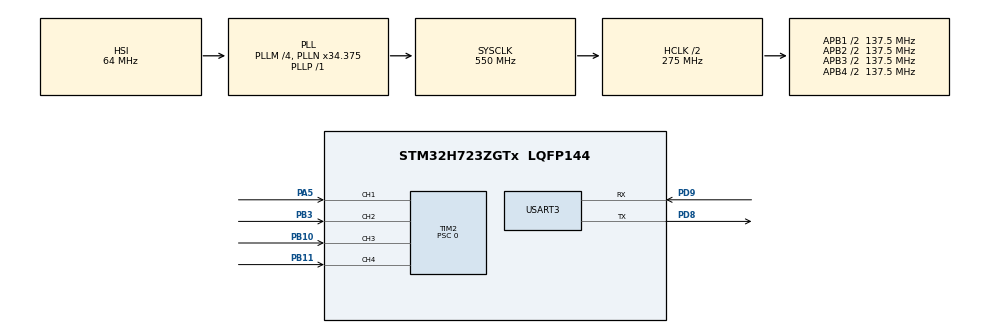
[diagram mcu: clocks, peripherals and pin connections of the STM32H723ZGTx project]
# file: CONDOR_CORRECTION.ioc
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CORTEX_M7.default_mode_Activation=1
Dma.Request0=TIM2_CH1
Dma.Request1=TIM2_CH2
Dma.Request2=TIM2_CH3
Dma.Request3=TIM2_CH4
Dma.TIM2_CH1.0.Direction=DMA_PERIPH_TO_MEMORY
Dma.TIM2_CH1.0.EventEnable=DISABLE
Dma.TIM2_CH1.0.FIFOMode=DMA_FIFOMODE_DISABLE
Dma.TIM2_CH1.0.Instance=DMA1_Stream0
Dma.TIM2_CH1.0.MemDataAlignment=DMA_MDATAALIGN_WORD
Dma.TIM2_CH1.0.MemInc=DMA_MINC_ENABLE
Dma.TIM2_CH1.0.Mode=DMA_NORMAL
Dma.TIM2_CH1.0.PeriphDataAlignment=DMA_PDATAALIGN_WORD
Dma.TIM2_CH1.0.PeriphInc=DMA_PINC_DISABLE
Dma.TIM2_CH1.0.Polarity=HAL_DMAMUX_REQ_GEN_RISING
Dma.TIM2_CH1.0.Priority=DMA_PRIORITY_LOW
Dma.TIM2_CH1.0.RequestNumber=1
Dma.TIM2_CH1.0.SignalID=NONE
Dma.TIM2_CH1.0.SyncEnable=DISABLE
Dma.TIM2_CH1.0.SyncPolarity=HAL_DMAMUX_SYNC_NO_EVENT
Dma.TIM2_CH1.0.SyncRequestNumber=1
Dma.TIM2_CH1.0.SyncSignalID=NONE
Dma.TIM2_CH2.1.Direction=DMA_PERIPH_TO_MEMORY
Dma.TIM2_CH2.1.EventEnable=DISABLE
Dma.TIM2_CH2.1.FIFOMode=DMA_FIFOMODE_DISABLE
Dma.TIM2_CH2.1.Instance=DMA1_Stream1
Dma.TIM2_CH2.1.MemDataAlignment=DMA_MDATAALIGN_WORD
Dma.TIM2_CH2.1.MemInc=DMA_MINC_ENABLE
Dma.TIM2_CH2.1.Mode=DMA_NORMAL
Dma.TIM2_CH2.1.PeriphDataAlignment=DMA_PDATAALIGN_WORD
Dma.TIM2_CH2.1.PeriphInc=DMA_PINC_DISABLE
Dma.TIM2_CH2.1.Polarity=HAL_DMAMUX_REQ_GEN_RISING
Dma.TIM2_CH2.1.Priority=DMA_PRIORITY_LOW
Dma.TIM2_CH2.1.RequestNumber=1
Dma.TIM2_CH2.1.SignalID=NONE
Dma.TIM2_CH2.1.SyncEnable=DISABLE
Dma.TIM2_CH2.1.SyncPolarity=HAL_DMAMUX_SYNC_NO_EVENT
Dma.TIM2_CH2.1.SyncRequestNumber=1
Dma.TIM2_CH2.1.SyncSignalID=NONE
Dma.TIM2_CH3.2.Direction=DMA_PERIPH_TO_MEMORY
Dma.TIM2_CH3.2.EventEnable=DISABLE
Dma.TIM2_CH3.2.FIFOMode=DMA_FIFOMODE_DISABLE
Dma.TIM2_CH3.2.Instance=DMA1_Stream2
Dma.TIM2_CH3.2.MemDataAlignment=DMA_MDATAALIGN_WORD
Dma.TIM2_CH3.2.MemInc=DMA_MINC_ENABLE
Dma.TIM2_CH3.2.Mode=DMA_NORMAL
Dma.TIM2_CH3.2.PeriphDataAlignment=DMA_PDATAALIGN_WORD
Dma.TIM2_CH3.2.PeriphInc=DMA_PINC_DISABLE
Dma.TIM2_CH3.2.Polarity=HAL_DMAMUX_REQ_GEN_RISING
Dma.TIM2_CH3.2.Priority=DMA_PRIORITY_LOW
Dma.TIM2_CH3.2.RequestNumber=1
Dma.TIM2_CH3.2.SignalID=NONE
Dma.TIM2_CH3.2.SyncEnable=DISABLE
Dma.TIM2_CH3.2.SyncPolarity=HAL_DMAMUX_SYNC_NO_EVENT
Dma.TIM2_CH3.2.SyncRequestNumber=1
Dma.TIM2_CH3.2.SyncSignalID=NONE
Dma.TIM2_CH4.3.Direction=DMA_PERIPH_TO_MEMORY
Dma.TIM2_CH4.3.EventEnable=DISABLE
Dma.TIM2_CH4.3.FIFOMode=DMA_FIFOMODE_DISABLE
Dma.TIM2_CH4.3.Instance=DMA1_Stream3
Dma.TIM2_CH4.3.MemDataAlignment=DMA_MDATAALIGN_WORD
Dma.TIM2_CH4.3.MemInc=DMA_MINC_ENABLE
Dma.TIM2_CH4.3.Mode=DMA_NORMAL
Dma.TIM2_CH4.3.PeriphDataAlignment=DMA_PDATAALIGN_WORD
Dma.TIM2_CH4.3.PeriphInc=DMA_PINC_DISABLE
Dma.TIM2_CH4.3.Polarity=HAL_DMAMUX_REQ_GEN_RISING
Dma.TIM2_CH4.3.Priority=DMA_PRIORITY_LOW
Dma.TIM2_CH4.3.RequestNumber=1
Dma.TIM2_CH4.3.SignalID=NONE
Dma.TIM2_CH4.3.SyncEnable=DISABLE
Dma.TIM2_CH4.3.SyncPolarity=HAL_DMAMUX_SYNC_NO_EVENT
Dma.TIM2_CH4.3.SyncRequestNumber=1
Dma.TIM2_CH4.3.SyncSignalID=NONE
Mcu.Family=STM32H7
Mcu.Name=STM32H723ZGTx
Mcu.Package=LQFP144
NUCLEO-H723ZG.BUTTON=1
NUCLEO-H723ZG.LD1=true
NUCLEO-H723ZG.LD2=true
NUCLEO-H723ZG.LD3=true
NUCLEO-H723ZG.VCP=true
NVIC.DMA1_Stream0_IRQn=true\:0\:0\:false\:false\:true\:false\:true\:true
NVIC.DMA1_Stream1_IRQn=true\:0\:0\:false\:false\:true\:false\:true\:true
NVIC.DMA1_Stream2_IRQn=true\:0\:0\:false\:false\:true\:false\:true\:true
NVIC.DMA1_Stream3_IRQn=true\:0\:0\:false\:false\:true\:false\:true\:true
NVIC.PriorityGroup=NVIC_PRIORITYGROUP_4
NVIC.TIM2_IRQn=true\:0\:0\:false\:false\:true\:true\:true\:true
NVIC.USART3_IRQn=true\:0\:0\:false\:false\:true\:true\:true\:true
PA5.Signal=S_TIM2_CH1_ETR
PB10.Signal=S_TIM2_CH3
PB11.Signal=S_TIM2_CH4
PB3(JTDO/TRACESWO).Signal=S_TIM2_CH2
PD8.Mode=Asynchronous
PD8.Signal=USART3_TX
PD9.Mode=Asynchronous
PD9.Signal=USART3_RX
ProjectManager.HeapSize=0x200
ProjectManager.StackSize=0x400
ProjectManager.TargetToolchain=STM32CubeIDE
RCC.ADCFreq_Value=608000000
RCC.APB1Freq_Value=137500000
RCC.APB2Freq_Value=137500000
RCC.APB3Freq_Value=137500000
RCC.APB4Freq_Value=137500000
RCC.CortexFreq_Value=550000000
RCC.D1PPRE=RCC_APB3_DIV2
RCC.D2PPRE1=RCC_APB1_DIV2
RCC.D2PPRE2=RCC_APB2_DIV2
RCC.D3PPRE=RCC_APB4_DIV2
RCC.DIVM1=4
RCC.DIVM2=1
RCC.DIVN1=34
RCC.DIVN2=19
RCC.DIVP1=1
RCC.DIVQ1=4
RCC.HCLKFreq_Value=275000000
RCC.HPRE=RCC_HCLK_DIV2
RCC.HSE_VALUE=8000000
RCC.PLLFRACN=3072
RCC.SYSCLKFreq_VALUE=550000000
RCC.SYSCLKSource=RCC_SYSCLKSOURCE_PLLCLK
RCC.USBCLockSelection=RCC_USBCLKSOURCE_HSI48
RCC.USBFreq_Value=48000000
SH.S_TIM2_CH1_ETR.0=TIM2_CH1,Input_Capture1_from_TI1
SH.S_TIM2_CH2.0=TIM2_CH2,Input_Capture2_from_TI2
SH.S_TIM2_CH3.0=TIM2_CH3,Input_Capture3_from_TI3
SH.S_TIM2_CH4.0=TIM2_CH4,Input_Capture4_from_TI4
TIM2.Channel-Input_Capture1_from_TI1=TIM_CHANNEL_1
TIM2.Channel-Input_Capture2_from_TI2=TIM_CHANNEL_2
TIM2.Channel-Input_Capture3_from_TI3=TIM_CHANNEL_3
TIM2.Channel-Input_Capture4_from_TI4=TIM_CHANNEL_4
TIM2.ICPolarity_CH1=TIM_INPUTCHANNELPOLARITY_FALLING
TIM2.Prescaler=0
USART3.VirtualMode-Asynchronous=VM_ASYNC
VP_MEMORYMAP_VS_MEMORYMAP.Mode=CurAppReg
VP_TIM2_VS_ClockSourceINT.Mode=Internal
board=NUCLEO-H723ZG

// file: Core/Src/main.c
/* USER CODE BEGIN Header */
/**
  ******************************************************************************
  * @file           : main.c
  * @brief          : Main program body
  ******************************************************************************
  * @attention
  *
  * Copyright (c) 2025 STMicroelectronics.
  * All rights reserved.
  *
  * This software is licensed under terms that can be found in the LICENSE file
  * in the root directory of this software component.
  * If no LICENSE file comes with this software, it is provided AS-IS.
  *
  ******************************************************************************
  */
/* USER CODE END Header */
#include "main.h"

/* USER CODE BEGIN Includes */
#include <stdio.h>

/* USER CODE END Includes */

/* USER CODE BEGIN PTD */
typedef struct {
    uint8_t channel;
    uint32_t timestamp;
} Event;

/* USER CODE END PTD */

/* USER CODE BEGIN PD */
#define PUTCHAR_PROTOTYPE 		int __io_putchar(int ch)

#define IC_BUF_LEN 16
#define MAX_EVENTS 128

#define COINCIDENCE_WINDOW 2000
/* USER CODE END PD */

TIM_HandleTypeDef htim2;
DMA_HandleTypeDef hdma_tim2_ch1;
DMA_HandleTypeDef hdma_tim2_ch2;
DMA_HandleTypeDef hdma_tim2_ch3;
DMA_HandleTypeDef hdma_tim2_ch4;

UART_HandleTypeDef huart3;

/* USER CODE BEGIN PV */

/* Buffers DMA por canal */
uint32_t ic_ch1_buf[IC_BUF_LEN];
uint32_t ic_ch2_buf[IC_BUF_LEN];
uint32_t ic_ch3_buf[IC_BUF_LEN];
uint32_t ic_ch4_buf[IC_BUF_LEN];

// Flags para los canales
volatile uint8_t ic_ch1_ready = 0;
volatile uint8_t ic_ch2_ready = 0;
volatile uint8_t ic_ch3_ready = 0;
volatile uint8_t ic_ch4_ready = 0;

/* Eventos */
volatile Event event_buffer[MAX_EVENTS];
volatile uint32_t event_index = 0;

/* Extensión 64 bits */
volatile uint32_t timer_high = 0;

volatile Event last_event = {0, 0};

/* USER CODE END PV */

void SystemClock_Config(void);
static void MPU_Config(void);
static void MX_GPIO_Init(void);
static void MX_DMA_Init(void);
static void MX_TIM2_Init(void);
static void MX_USART3_UART_Init(void);
/* USER CODE BEGIN PFP */
//static inline void push_event(uint8_t ch, uint32_t ts_low);
void Print_IC_Buffer(uint8_t ch, uint32_t *buf, uint32_t len);
void IC_DMA_XferCpltCallback(DMA_HandleTypeDef *hdma);
/* USER CODE END PFP */

int main(void)
{

  /* MPU Configuration--------------------------------------------------------*/
  MPU_Config();

  /* MCU Configuration--------------------------------------------------------*/

  /* Reset of all peripherals, Initializes the Flash interface and the Systick. */
  HAL_Init();

  /* Configure the system clock */
  SystemClock_Config();

  /* Initialize all configured peripherals */
  MX_GPIO_Init();
  MX_DMA_Init();
  MX_TIM2_Init();
  MX_USART3_UART_Init();
  /* USER CODE BEGIN 2 */
  HAL_NVIC_SetPriority(TIM2_IRQn, 1, 0);
  HAL_NVIC_EnableIRQ(TIM2_IRQn);
  HAL_TIM_Base_Start(&htim2);

  //htim2.hdma[TIM_DMA_ID_CC1]->XferCpltCallback = IC_DMA_XferCpltCallback;
  //htim2.hdma[TIM_DMA_ID_CC2]->XferCpltCallback = IC_DMA_XferCpltCallback;
  //htim2.hdma[TIM_DMA_ID_CC3]->XferCpltCallback = IC_DMA_XferCpltCallback;
  //htim2.hdma[TIM_DMA_ID_CC4]->XferCpltCallback = IC_DMA_XferCpltCallback;

  HAL_TIM_IC_Start_DMA(&htim2, TIM_CHANNEL_1, ic_ch1_buf, IC_BUF_LEN);
  HAL_TIM_IC_Start_DMA(&htim2, TIM_CHANNEL_2, ic_ch2_buf, IC_BUF_LEN);
  HAL_TIM_IC_Start_DMA(&htim2, TIM_CHANNEL_3, ic_ch3_buf, IC_BUF_LEN);
  HAL_TIM_IC_Start_DMA(&htim2, TIM_CHANNEL_4, ic_ch4_buf, IC_BUF_LEN);

  /* USER CODE END 2 */

  /* Infinite loop */
  /* USER CODE BEGIN WHILE */
  printf("Hello - Test\n");
  while (1)
  {
    /* USER CODE END WHILE */

    /* USER CODE BEGIN 3 */
      if (ic_ch1_ready)
      {
          ic_ch1_ready = 0;
          Print_IC_Buffer(1, ic_ch1_buf, IC_BUF_LEN);
      }
      if (ic_ch2_ready)
      {
          ic_ch2_ready = 0;
          Print_IC_Buffer(2, ic_ch2_buf, IC_BUF_LEN);
      }
      if (ic_ch3_ready)
      {
          ic_ch3_ready = 0;
          Print_IC_Buffer(3, ic_ch3_buf, IC_BUF_LEN);
      }
      if (ic_ch4_ready)
      {
          ic_ch4_ready = 0;
          Print_IC_Buffer(4, ic_ch4_buf, IC_BUF_LEN);
      }
  }
  /* USER CODE END 3 */
}

void SystemClock_Config(void)
{
  RCC_OscInitTypeDef RCC_OscInitStruct = {0};
  RCC_ClkInitTypeDef RCC_ClkInitStruct = {0};

  /** Supply configuration update enable
  */
  HAL_PWREx_ConfigSupply(PWR_LDO_SUPPLY);

  /** Configure the main internal regulator output voltage
  */
  __HAL_PWR_VOLTAGESCALING_CONFIG(PWR_REGULATOR_VOLTAGE_SCALE0);

  while(!__HAL_PWR_GET_FLAG(PWR_FLAG_VOSRDY)) {}

  /** Initializes the RCC Oscillators according to the specified parameters
  * in the RCC_OscInitTypeDef structure.
  */
  RCC_OscInitStruct.OscillatorType = RCC_OSCILLATORTYPE_HSI;
  RCC_OscInitStruct.HSIState = RCC_HSI_DIV1;
  RCC_OscInitStruct.HSICalibrationValue = 64;
  RCC_OscInitStruct.PLL.PLLState = RCC_PLL_ON;
  RCC_OscInitStruct.PLL.PLLSource = RCC_PLLSOURCE_HSI;
  RCC_OscInitStruct.PLL.PLLM = 4;
  RCC_OscInitStruct.PLL.PLLN = 34;
  RCC_OscInitStruct.PLL.PLLP = 1;
  RCC_OscInitStruct.PLL.PLLQ = 4;
  RCC_OscInitStruct.PLL.PLLR = 2;
  RCC_OscInitStruct.PLL.PLLRGE = RCC_PLL1VCIRANGE_3;
  RCC_OscInitStruct.PLL.PLLVCOSEL = RCC_PLL1VCOWIDE;
  RCC_OscInitStruct.PLL.PLLFRACN = 3072;
  if (HAL_RCC_OscConfig(&RCC_OscInitStruct) != HAL_OK)
  {
    Error_Handler();
  }

  /** Initializes the CPU, AHB and APB buses clocks
  */
  RCC_ClkInitStruct.ClockType = RCC_CLOCKTYPE_HCLK|RCC_CLOCKTYPE_SYSCLK
                              |RCC_CLOCKTYPE_PCLK1|RCC_CLOCKTYPE_PCLK2
                              |RCC_CLOCKTYPE_D3PCLK1|RCC_CLOCKTYPE_D1PCLK1;
  RCC_ClkInitStruct.SYSCLKSource = RCC_SYSCLKSOURCE_PLLCLK;
  RCC_ClkInitStruct.SYSCLKDivider = RCC_SYSCLK_DIV1;
  RCC_ClkInitStruct.AHBCLKDivider = RCC_HCLK_DIV2;
  RCC_ClkInitStruct.APB3CLKDivider = RCC_APB3_DIV2;
  RCC_ClkInitStruct.APB1CLKDivider = RCC_APB1_DIV2;
  RCC_ClkInitStruct.APB2CLKDivider = RCC_APB2_DIV2;
  RCC_ClkInitStruct.APB4CLKDivider = RCC_APB4_DIV2;

  if (HAL_RCC_ClockConfig(&RCC_ClkInitStruct, FLASH_LATENCY_3) != HAL_OK)
  {
    Error_Handler();
  }
}

static void MX_TIM2_Init(void)
{

  TIM_ClockConfigTypeDef sClockSourceConfig = {0};
  TIM_MasterConfigTypeDef sMasterConfig = {0};
  TIM_IC_InitTypeDef sConfigIC = {0};

  htim2.Instance = TIM2;
  htim2.Init.Prescaler = 0;
  htim2.Init.CounterMode = TIM_COUNTERMODE_UP;
  htim2.Init.Period = 4294967295;
  htim2.Init.ClockDivision = TIM_CLOCKDIVISION_DIV1;
  htim2.Init.AutoReloadPreload = TIM_AUTORELOAD_PRELOAD_DISABLE;
  if (HAL_TIM_Base_Init(&htim2) != HAL_OK)
  {
    Error_Handler();
  }
  sClockSourceConfig.ClockSource = TIM_CLOCKSOURCE_INTERNAL;
  if (HAL_TIM_ConfigClockSource(&htim2, &sClockSourceConfig) != HAL_OK)
  {
    Error_Handler();
  }
  if (HAL_TIM_IC_Init(&htim2) != HAL_OK)
  {
    Error_Handler();
  }
  sMasterConfig.MasterOutputTrigger = TIM_TRGO_RESET;
  sMasterConfig.MasterSlaveMode = TIM_MASTERSLAVEMODE_DISABLE;
  if (HAL_TIMEx_MasterConfigSynchronization(&htim2, &sMasterConfig) != HAL_OK)
  {
    Error_Handler();
  }
  sConfigIC.ICPolarity = TIM_INPUTCHANNELPOLARITY_FALLING;
  sConfigIC.ICSelection = TIM_ICSELECTION_DIRECTTI;
  sConfigIC.ICPrescaler = TIM_ICPSC_DIV1;
  sConfigIC.ICFilter = 0;
  if (HAL_TIM_IC_ConfigChannel(&htim2, &sConfigIC, TIM_CHANNEL_1) != HAL_OK)
  {
    Error_Handler();
  }
  sConfigIC.ICPolarity = TIM_INPUTCHANNELPOLARITY_RISING;
  if (HAL_TIM_IC_ConfigChannel(&htim2, &sConfigIC, TIM_CHANNEL_2) != HAL_OK)
  {
    Error_Handler();
  }
  if (HAL_TIM_IC_ConfigChannel(&htim2, &sConfigIC, TIM_CHANNEL_3) != HAL_OK)
  {
    Error_Handler();
  }
  if (HAL_TIM_IC_ConfigChannel(&htim2, &sConfigIC, TIM_CHANNEL_4) != HAL_OK)
  {
    Error_Handler();
  }

}

static void MX_USART3_UART_Init(void)
{

  huart3.Instance = USART3;
  huart3.Init.BaudRate = 115200;
  huart3.Init.WordLength = UART_WORDLENGTH_8B;
  huart3.Init.StopBits = UART_STOPBITS_1;
  huart3.Init.Parity = UART_PARITY_NONE;
  huart3.Init.Mode = UART_MODE_TX_RX;
  huart3.Init.HwFlowCtl = UART_HWCONTROL_NONE;
  huart3.Init.OverSampling = UART_OVERSAMPLING_16;
  huart3.Init.OneBitSampling = UART_ONE_BIT_SAMPLE_DISABLE;
  huart3.Init.ClockPrescaler = UART_PRESCALER_DIV1;
  huart3.AdvancedInit.AdvFeatureInit = UART_ADVFEATURE_NO_INIT;
  if (HAL_UART_Init(&huart3) != HAL_OK)
  {
    Error_Handler();
  }
  if (HAL_UARTEx_SetTxFifoThreshold(&huart3, UART_TXFIFO_THRESHOLD_1_8) != HAL_OK)
  {
    Error_Handler();
  }
  if (HAL_UARTEx_SetRxFifoThreshold(&huart3, UART_RXFIFO_THRESHOLD_1_8) != HAL_OK)
  {
    Error_Handler();
  }
  if (HAL_UARTEx_DisableFifoMode(&huart3) != HAL_OK)
  {
    Error_Handler();
  }

}

static void MX_DMA_Init(void)
{

  /* DMA controller clock enable */
  __HAL_RCC_DMA1_CLK_ENABLE();

  /* DMA interrupt init */
  /* DMA1_Stream0_IRQn interrupt configuration */
  HAL_NVIC_SetPriority(DMA1_Stream0_IRQn, 0, 0);
  HAL_NVIC_EnableIRQ(DMA1_Stream0_IRQn);
  /* DMA1_Stream1_IRQn interrupt configuration */
  HAL_NVIC_SetPriority(DMA1_Stream1_IRQn, 0, 0);
  HAL_NVIC_EnableIRQ(DMA1_Stream1_IRQn);
  /* DMA1_Stream2_IRQn interrupt configuration */
  HAL_NVIC_SetPriority(DMA1_Stream2_IRQn, 0, 0);
  HAL_NVIC_EnableIRQ(DMA1_Stream2_IRQn);
  /* DMA1_Stream3_IRQn interrupt configuration */
  HAL_NVIC_SetPriority(DMA1_Stream3_IRQn, 0, 0);
  HAL_NVIC_EnableIRQ(DMA1_Stream3_IRQn);

}

static void MX_GPIO_Init(void)
{

  /* GPIO Ports Clock Enable */
  __HAL_RCC_GPIOA_CLK_ENABLE();
  __HAL_RCC_GPIOB_CLK_ENABLE();
  __HAL_RCC_GPIOD_CLK_ENABLE();

}

/* USER CODE BEGIN 4 */
/* Callback DMA Input Capture */
void HAL_TIM_IC_CaptureCallback(TIM_HandleTypeDef *htim)
{
    if ((htim->Channel == HAL_TIM_ACTIVE_CHANNEL_1) ||
            (htim->hdma[TIM_DMA_ID_CC1] != NULL && htim->hdma[TIM_DMA_ID_CC1]->State == HAL_DMA_STATE_READY))
    {
        ic_ch1_ready = 1;
    }
    else if (htim->Channel == HAL_TIM_ACTIVE_CHANNEL_2)
        ic_ch2_ready = 1;
    else if (htim->Channel == HAL_TIM_ACTIVE_CHANNEL_3)
        ic_ch3_ready = 1;
    else if (htim->Channel == HAL_TIM_ACTIVE_CHANNEL_4)
        ic_ch4_ready = 1;
}

// En esta función hacemos el callback del DMA se ejecute cuando el buffer esté completo
//void IC_DMA_XferCpltCallback(DMA_HandleTypeDef *hdma)
//{
//    if (hdma == htim2.hdma[TIM_DMA_ID_CC1])
//    {
//        ic_ch1_ready = 1;
//    }
//    else if (hdma == htim2.hdma[TIM_DMA_ID_CC2])
//    {
//        ic_ch2_ready = 1;
//    }
//    else if (hdma == htim2.hdma[TIM_DMA_ID_CC3])
//    {
//        ic_ch3_ready = 1;
//    }
//    else if (hdma == htim2.hdma[TIM_DMA_ID_CC4])
//    {
//        ic_ch4_ready = 1;
//    }
//}

// Función para imprimir los buffers
void Print_IC_Buffer(uint8_t ch, uint32_t *buf, uint32_t len)
{
    for (uint32_t i = 0; i < len; i++)
    {
        printf("EVENTO: CH%u | t=%lu\r\n", ch, buf[i]);
    }
}

// En standby, primero hay que ver como se almacenan los timestamp en los buffers
/* Inserta evento y detecta coincidencias */
//static inline void push_event(uint8_t ch, uint32_t ts_low)
//{
//    uint32_t ts = (timer_high << 32) | ts_low;
//
//    event_buffer[event_index].channel   = ch;
//    event_buffer[event_index].timestamp = ts;
//    event_index = (event_index + 1) % MAX_EVENTS;
//
//    if (last_event.channel != 0)
//    {
//        uint32_t dt =
//            (ts > last_event.timestamp)
//            ? (ts - last_event.timestamp)
//            : (last_event.timestamp - ts);
//
//        if (dt <= COINCIDENCE_WINDOW)
//        {
//            printf("COINCIDENCIA: CH%u & CH%u | t=%llu | dt=%llu\r\n",
//                   last_event.channel, ch, ts, dt);
//        }
//        else
//        {
//            printf("EVENTO: CH%u | t=%llu\r\n", ch, ts);
//        }
//    }
//    else
//    {
//        printf("EVENTO: CH%u | t=%llu\r\n", ch, ts);
//    }
//
//    last_event.channel   = ch;
//    last_event.timestamp = ts;
//}

// NO es necesario, ya se sabe cual es el canal correspondiente a cada buffer

/* Overflow del TIM2 → extiende a 64 bits */
void HAL_TIM_PeriodElapsedCallback(TIM_HandleTypeDef *htim)
{
    if (htim->Instance == TIM2)
        timer_high++;
}

/* Redirección printf a UART */
PUTCHAR_PROTOTYPE
{
    HAL_UART_Transmit(&huart3, (uint8_t *)&ch, 1, HAL_MAX_DELAY);
    return ch;
}

/* USER CODE END 4 */

 /* MPU Configuration */

void MPU_Config(void)
{
  MPU_Region_InitTypeDef MPU_InitStruct = {0};

  /* Disables the MPU */
  HAL_MPU_Disable();

  /** Initializes and configures the Region and the memory to be protected
  */
  MPU_InitStruct.Enable = MPU_REGION_ENABLE;
  MPU_InitStruct.Number = MPU_REGION_NUMBER0;
  MPU_InitStruct.BaseAddress = 0x0;
  MPU_InitStruct.Size = MPU_REGION_SIZE_4GB;
  MPU_InitStruct.SubRegionDisable = 0x87;
  MPU_InitStruct.TypeExtField = MPU_TEX_LEVEL0;
  MPU_InitStruct.AccessPermission = MPU_REGION_NO_ACCESS;
  MPU_InitStruct.DisableExec = MPU_INSTRUCTION_ACCESS_DISABLE;
  MPU_InitStruct.IsShareable = MPU_ACCESS_SHAREABLE;
  MPU_InitStruct.IsCacheable = MPU_ACCESS_NOT_CACHEABLE;
  MPU_InitStruct.IsBufferable = MPU_ACCESS_NOT_BUFFERABLE;

  HAL_MPU_ConfigRegion(&MPU_InitStruct);
  /* Enables the MPU */
  HAL_MPU_Enable(MPU_PRIVILEGED_DEFAULT);

}

void Error_Handler(void)
{
  __disable_irq();
  while (1)
  {
  }
}
